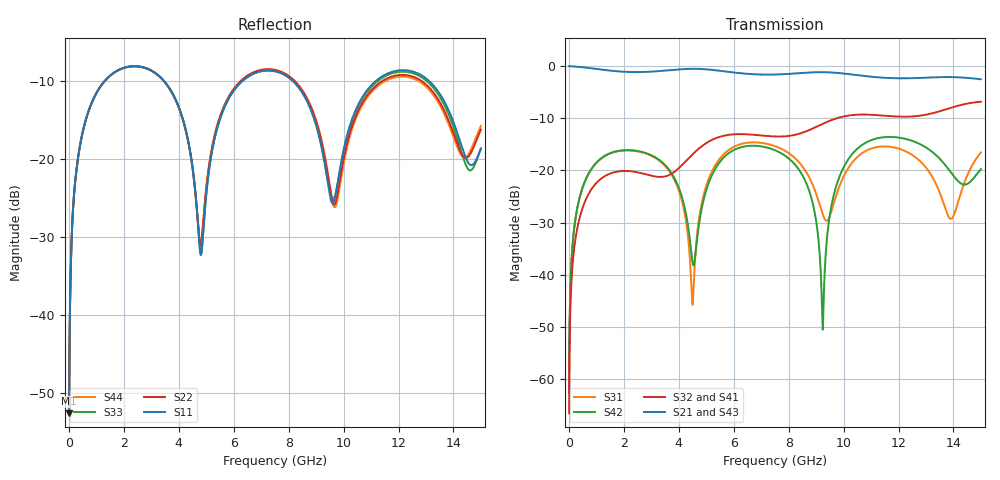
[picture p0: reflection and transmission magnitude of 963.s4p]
! Created with skrf 1.8.0 (http://scikit-rf.org).
# GHz S RI R 50.0
!freq ReS11 ImS11 ReS12 ImS12 ReS13 ImS13
! ReS14 ImS14
! ReS21 ImS21 ReS22 ImS22 ReS23 ImS23
! ReS24 ImS24
! ReS31 ImS31 ReS32 ImS32 ReS33 ImS33
! ReS34 ImS34
! ReS41 ImS41 ReS42 ImS42 ReS43 ImS43
! ReS44 ImS44
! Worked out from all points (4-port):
!   2499 points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, 5 MHz to 15 GHz, reference 50 ohm
!   strongest paths, dB at 5 MHz, 3.476 GHz, 7.19 GHz, 11.1 GHz, 15 GHz:
!     S21: 0.0, -0.9, -1.6, -2.1, -2.5
!     S43: 0.0, -0.9, -1.6, -2.1, -2.5
!     S32: -66.6, -21.2, -13.4, -9.4, -6.8
!     S41: -66.6, -21.2, -13.4, -9.4, -6.9
!     S42: -62.7, -18.8, -15.6, -14.0, -19.8
!     S31: -62.7, -19.0, -14.9, -15.7, -16.6
!   lowest |S11| = -52.6 dB at 5 MHz (marker M1), VSWR 1.00, Z = 50.2 + j0.142 ohm
!   |S11| at or under -10 dB: 3.459 GHz to 6.316 GHz (2.857 GHz wide, 58.4 % of centre); 8.147 GHz to 11.18 GHz (3.029 GHz wide, 31.4 % of centre); 13.11 GHz to end of sweep (the widest 3 of 4)
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0.005  0.00187 0.00142  0.9981 -0.00363  9.41e-05 0.00073  -9.14e-05 -0.00046
       0.9981 -0.00363  0.00187 0.00142  -9.14e-05 -0.00046  9.41e-05 0.00073
       9.41e-05 0.00073  -9.14e-05 -0.00046  0.00187 0.00142  0.9981 -0.00363
       -9.14e-05 -0.00046  9.41e-05 0.00073  0.9981 -0.00363  0.00187 0.00142
1.469362  0.2942 0.1677  0.4965 -0.758  0.1338 0.0544  -0.0925 0.00253
          0.4965 -0.758  0.2937 0.168  -0.0925 0.00257  0.1353 0.052
          0.1338 0.0544  -0.0925 0.00257  0.2942 0.1678  0.4965 -0.758
          -0.0925 0.00253  0.1353 0.052  0.4965 -0.758  0.2937 0.1681
4.495623  0.0399 -0.0804  -0.9035 -0.2635  0.00513 -0.000253  -0.0354 0.1377
          -0.9035 -0.2635  0.0431 -0.0767  -0.035 0.1378  -0.0121 -0.00569
          0.00513 -0.000253  -0.035 0.1378  0.0402 -0.0806  -0.9034 -0.2636
          -0.0354 0.1377  -0.0121 -0.00569  -0.9034 -0.2636  0.0429 -0.077
5.877449  0.1895 0.1694  -0.6986 0.5281  0.1478 0.0634  0.1655 0.1451
          -0.6986 0.5281  0.1981 0.1696  0.166 0.1446  0.1294 0.0758
          0.1478 0.0634  0.166 0.1446  0.1897 0.1693  -0.6985 0.5281
          0.1655 0.1451  0.1294 0.0758  -0.6985 0.5281  0.1981 0.1698
9.241351  0.0738 -0.0796  0.7955 0.3617  -0.0346 -0.0153  0.1094 -0.2572
          0.7955 0.3617  0.0748 -0.0919  0.1077 -0.258  -0.00293 0.000502
          -0.0346 -0.0153  0.1077 -0.258  0.0778 -0.0831  0.7945 0.3627
          0.1094 -0.2572  -0.00293 0.000502  0.7945 0.3627  0.0747 -0.097
9.722801  0.0542 0.0277  0.8586 0.0808  -0.00563 0.0563  0.0203 -0.3136
          0.8586 0.0808  0.0522 0.0129  0.0182 -0.3136  0.0327 0.0612
          -0.00563 0.0563  0.0182 -0.3136  0.0574 0.0218  0.8586 0.0825
          0.0203 -0.3136  0.0327 0.0612  0.8586 0.0825  0.0498 0.00698
15  0.1071 0.0461  -0.745 0.0695  0.1019 0.1079  0.0691 0.4486
    -0.745 0.0695  0.1339 0.0766  0.0733 0.449  0.0406 0.0946
    0.1019 0.1079  0.0733 0.449  0.1034 0.0541  -0.7436 0.075
    0.0691 0.4486  0.0406 0.0946  -0.7436 0.075  0.1389 0.0851
